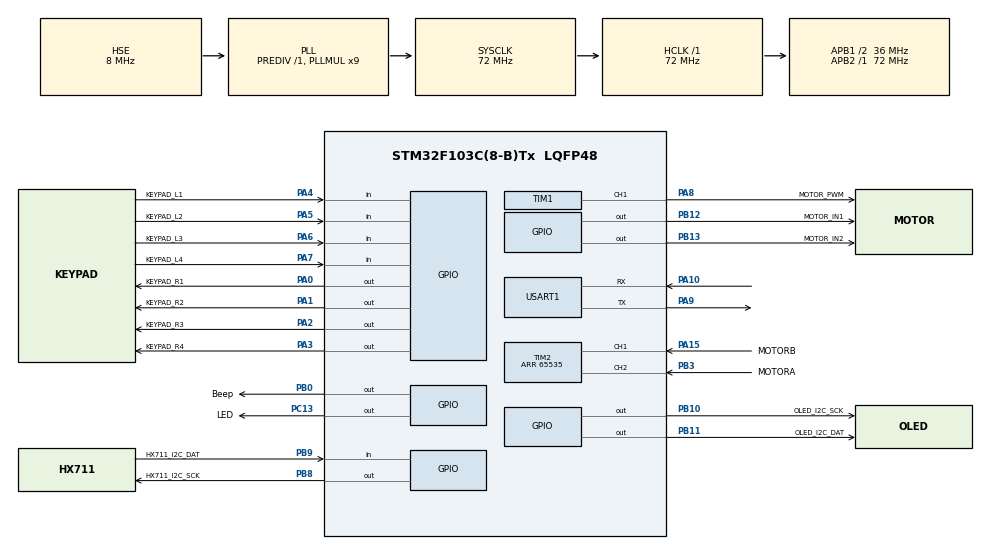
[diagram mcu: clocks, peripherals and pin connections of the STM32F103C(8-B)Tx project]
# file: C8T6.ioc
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Mcu.Family=STM32F1
Mcu.Name=STM32F103C(8-B)Tx
Mcu.Package=LQFP48
NVIC.PriorityGroup=NVIC_PRIORITYGROUP_0
NVIC.TIM3_IRQn=true\:0\:1\:false\:false\:true\:true
PA0-WKUP.GPIO_Label=KEYPAD_R1
PA0-WKUP.GPIO_PuPd=GPIO_PULLDOWN
PA0-WKUP.Signal=GPIO_Output
PA1.GPIO_Label=KEYPAD_R2
PA1.GPIO_PuPd=GPIO_PULLDOWN
PA1.Signal=GPIO_Output
PA10.Mode=Asynchronous
PA10.Signal=USART1_RX
PA13.Mode=Serial_Wire
PA13.Signal=SYS_JTMS-SWDIO
PA14.Mode=Serial_Wire
PA14.Signal=SYS_JTCK-SWCLK
PA15.GPIO_Label=MOTORB
PA15.Signal=S_TIM2_CH1_ETR
PA2.GPIO_Label=KEYPAD_R3
PA2.GPIO_PuPd=GPIO_PULLDOWN
PA2.Signal=GPIO_Output
PA3.GPIO_Label=KEYPAD_R4
PA3.GPIO_PuPd=GPIO_PULLDOWN
PA3.Signal=GPIO_Output
PA4.GPIO_Label=KEYPAD_L1
PA4.GPIO_PuPd=GPIO_PULLDOWN
PA4.Signal=GPIO_Input
PA5.GPIO_Label=KEYPAD_L2
PA5.GPIO_PuPd=GPIO_PULLDOWN
PA5.Signal=GPIO_Input
PA6.GPIO_Label=KEYPAD_L3
PA6.GPIO_PuPd=GPIO_PULLDOWN
PA6.Signal=GPIO_Input
PA7.GPIO_Label=KEYPAD_L4
PA7.GPIO_PuPd=GPIO_PULLDOWN
PA7.Signal=GPIO_Input
PA8.GPIO_Label=MOTOR_PWM
PA8.Signal=S_TIM1_CH1
PA9.Mode=Asynchronous
PA9.Signal=USART1_TX
PB0.GPIO_Label=Beep
PB0.GPIO_PuPd=GPIO_PULLDOWN
PB0.Signal=GPIO_Output
PB10.GPIO_Label=OLED_I2C_SCK
PB10.PinState=GPIO_PIN_SET
PB10.Signal=GPIO_Output
PB11.GPIO_Label=OLED_I2C_DAT
PB11.PinState=GPIO_PIN_SET
PB11.Signal=GPIO_Output
PB12.GPIO_Label=MOTOR_IN1
PB12.GPIO_PuPd=GPIO_PULLUP
PB12.Signal=GPIO_Output
PB13.GPIO_Label=MOTOR_IN2
PB13.GPIO_PuPd=GPIO_PULLUP
PB13.Signal=GPIO_Output
PB3.GPIO_Label=MOTORA
PB3.Signal=S_TIM2_CH2
PB8.GPIO_Label=HX711_I2C_SCK 
PB8.Signal=GPIO_Output
PB9.GPIO_Label=HX711_I2C_DAT 
PB9.Signal=GPIO_Input
PC13-TAMPER-RTC.GPIO_Label=LED
PC13-TAMPER-RTC.GPIO_PuPd=GPIO_NOPULL
PC13-TAMPER-RTC.Signal=GPIO_Output
PD0-OSC_IN.Mode=HSE-External-Oscillator
PD0-OSC_IN.Signal=RCC_OSC_IN
PD1-OSC_OUT.Mode=HSE-External-Oscillator
PD1-OSC_OUT.Signal=RCC_OSC_OUT
ProjectManager.HeapSize=0x200
ProjectManager.StackSize=0x400
ProjectManager.TargetToolchain=MDK-ARM V5
RCC.AHBFreq_Value=72000000
RCC.APB1CLKDivider=RCC_HCLK_DIV2
RCC.APB1Freq_Value=36000000
RCC.APB1TimFreq_Value=72000000
RCC.APB2Freq_Value=72000000
RCC.APB2TimFreq_Value=72000000
RCC.HCLKFreq_Value=72000000
RCC.PLLMUL=RCC_PLL_MUL9
RCC.PLLSourceVirtual=RCC_PLLSOURCE_HSE
RCC.SYSCLKFreq_VALUE=72000000
RCC.SYSCLKSource=RCC_SYSCLKSOURCE_PLLCLK
RCC.USBFreq_Value=72000000
SH.S_TIM1_CH1.0=TIM1_CH1,PWM Generation1 CH1
SH.S_TIM2_CH1_ETR.0=TIM2_CH1,Encoder_Interface
SH.S_TIM2_CH2.0=TIM2_CH2,Encoder_Interface
TIM1.Channel-PWM\ Generation1\ CH1=TIM_CHANNEL_1
TIM1.Period=10000
TIM1.Prescaler=1
TIM2.EncoderMode=TIM_ENCODERMODE_TI12
TIM2.IC1Filter=6
TIM2.IC2Filter=6
TIM2.Period=65535
TIM3.Period=1000
TIM3.Prescaler=71
USART1.VirtualMode=VM_ASYNC
VP_TIM1_VS_ClockSourceINT.Mode=Internal
VP_TIM3_VS_ClockSourceINT.Mode=Internal
board=custom

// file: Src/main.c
/**
  ******************************************************************************
  * @file           : main.c
  * @brief          : Main program body
  ******************************************************************************
  ** This notice applies to any and all portions of this file
  * that are not between comment pairs USER CODE BEGIN and
  * USER CODE END. Other portions of this file, whether
  * inserted by the user or by software development tools
  * are owned by their respective copyright owners.
  *
  * COPYRIGHT(c) 2019 STMicroelectronics
  *
  * Redistribution and use in source and binary forms, with or without modification,
  * are permitted provided that the following conditions are met:
  *   1. Redistributions of source code must retain the above copyright notice,
  *      this list of conditions and the following disclaimer.
  *   2. Redistributions in binary form must reproduce the above copyright notice,
  *      this list of conditions and the following disclaimer in the documentation
  *      and/or other materials provided with the distribution.
  *   3. Neither the name of STMicroelectronics nor the names of its contributors
  *      may be used to endorse or promote products derived from this software
  *      without specific prior written permission.
  *
  * THIS SOFTWARE IS PROVIDED BY THE COPYRIGHT HOLDERS AND CONTRIBUTORS "AS IS"
  * AND ANY EXPRESS OR IMPLIED WARRANTIES, INCLUDING, BUT NOT LIMITED TO, THE
  * IMPLIED WARRANTIES OF MERCHANTABILITY AND FITNESS FOR A PARTICULAR PURPOSE ARE
  * DISCLAIMED. IN NO EVENT SHALL THE COPYRIGHT HOLDER OR CONTRIBUTORS BE LIABLE
  * FOR ANY DIRECT, INDIRECT, INCIDENTAL, SPECIAL, EXEMPLARY, OR CONSEQUENTIAL
  * DAMAGES (INCLUDING, BUT NOT LIMITED TO, PROCUREMENT OF SUBSTITUTE GOODS OR
  * SERVICES; LOSS OF USE, DATA, OR PROFITS; OR BUSINESS INTERRUPTION) HOWEVER
  * CAUSED AND ON ANY THEORY OF LIABILITY, WHETHER IN CONTRACT, STRICT LIABILITY,
  * OR TORT (INCLUDING NEGLIGENCE OR OTHERWISE) ARISING IN ANY WAY OUT OF THE USE
  * OF THIS SOFTWARE, EVEN IF ADVISED OF THE POSSIBILITY OF SUCH DAMAGE.
  *
  ******************************************************************************
  */
#include "main.h"
#include "stm32f1xx_hal.h"
#include "tim.h"
#include "usart.h"
#include "gpio.h"

/* USER CODE BEGIN Includes */

#include "motor.h"
#include "pid.h"
#include "hx711.h"
#include "oled.h"
#include "keypad.h"

#include "stdio.h"
#ifdef __GNUC__
#define PUTCHAR_PROTOTYPE int __io_putchar(int ch)
#else
#define PUTCHAR_PROTOTYPE int fputc(int ch, FILE *f)
#endif /* __GNUC__ */
PUTCHAR_PROTOTYPE
{
	HAL_UART_Transmit(&huart1 , (uint8_t *)&ch, 1, 0xFFFF);
	return ch;
}

/* USER CODE END Includes */

/* USER CODE BEGIN PV */
/* Private variables ---------------------------------------------------------*/

__IO uint16_t time_count=0;        // 时间计数，每1ms增加一(与滴定时器频率有关)
__IO uint16_t time_count2=0;

__IO uint32_t CaptureNumber=0;     // 电机及编码器相关参数
__IO uint8_t  start_encoder_flag=0;
__IO uint8_t  start_flag=0;
__IO int PWM_Duty;
__IO int count;
__IO int error0;
__IO int para1;
__IO int para2;

__IO int time_key_count=0;
__IO int key_open=0;       	//中断使能一次按键
__IO int key_after_jixie=0; //失能机械调零，使能按键输入；
__IO int i=0; 							//用在按键输入的数组位数；
__IO int keyvalue1=0;				//用在开机按键输入
__IO int keyvalue2=0;				//用在待机按键输入
__IO int key_last=0;
__IO int key_in_flag=0;
__IO int key_out_flag=0;
__IO int key_finish=0;			//完成一次输入后
__IO int key_clear_flag=0;
__IO int open_flag=0;
__IO int close_flag=0;
int success_sub=0;
unsigned int success_count=0;
int success=0;
int success_clear=0;
int Weight = 0;        //压力传感相关参数
int Weight_itr = 0;
int key_str[5];

__IO int time_total=0;   //系统总用时

/* USER CODE END PV */

void SystemClock_Config(void);

/* USER CODE BEGIN PFP */
/* Private function prototypes -----------------------------------------------*/

/* USER CODE END PFP */

int main(void)
{

  /* MCU Configuration----------------------------------------------------------*/

  /* Reset of all peripherals, Initializes the Flash interface and the Systick. */
  HAL_Init();

  /* Configure the system clock */
  SystemClock_Config();

  /* Initialize all configured peripherals */
  MX_GPIO_Init();
  MX_TIM1_Init();
  MX_TIM2_Init();
  MX_USART1_UART_Init();
  MX_TIM3_Init();
  /* USER CODE BEGIN 2 */

	HAL_TIM_Base_Start(&htim1);  //初始化定时器
	HAL_TIM_Base_Start(&htim2);
	HAL_TIM_Base_Start_IT(&htim3);

	Motor_Init();   //初始化电机、编码器
	HAL_TIM_Encoder_Start(&htim2,TIM_CHANNEL_ALL);
	PID_Init(&Motor_PowerPID,PID_Motor_KP1,PID_Motor_KI1,PID_Motor_KD1);
	PID_Init(&Motor_SpeedPID,PID_Motor_KP2,PID_Motor_KI2,PID_Motor_KD2);

	OLED_Init();			//初始化OLED
	OLED_Clear();

  /* USER CODE END 2 */

  /* Infinite loop */
  /* USER CODE BEGIN WHILE */

		printf("INIT__PASS……  \r\n");		//硬件初始化成功

	//////////【OLED显示装置】///////////

		OLED_ShowCHinese(6,0,7);//电机恒拉力系统
		OLED_ShowCHinese(24,0,8);
		OLED_ShowCHinese(42,0,9);
		OLED_ShowCHinese(60,0,10);
		OLED_ShowCHinese(78,0,11);
		OLED_ShowCHinese(96,0,12);
		OLED_ShowCHinese(112,0,13);

		OLED_ShowCHinese(6,2,14);//目标拉力值：
		OLED_ShowCHinese(22,2,15);
		OLED_ShowCHinese(38,2,16);
		OLED_ShowCHinese(54,2,17);
		OLED_ShowCHinese(70,2,19);
		OLED_ShowString(120,2,"g",16);

		OLED_ShowCHinese(6,4,20);//当前拉力值：
		OLED_ShowCHinese(22,4,21);
		OLED_ShowCHinese(38,4,22);
		OLED_ShowCHinese(54,4,23);
		OLED_ShowCHinese(70,4,19);
		OLED_ShowString(120,4,"g",16);

		OLED_ShowCHinese(6,6,27);//时间：
		OLED_ShowCHinese(22,6,28);
		OLED_ShowCHinese(38,6,19);
		OLED_ShowString(78,6,".",16);
		OLED_ShowString(100,6,"s",16);

	/////////////////////////////////////

	LED_OFF;
	Get_Maopi();
	//////////【弹力装置初始化程序】///////////////////
	while(1)
	{
		if(key_open==1)
		{
			keyvalue2=KEYPAD_Scan(KEY_PASG_PORT);
			if(open_flag==1)break;

			if(keyvalue2==12&&key_after_jixie==0)//逆时针旋转
				{
					Set_Pwm(9999);
					HAL_GPIO_WritePin(MOTOR_IN1_GPIO_Port,MOTOR_IN1_Pin,GPIO_PIN_RESET);
					HAL_GPIO_WritePin(MOTOR_IN1_GPIO_Port,MOTOR_IN2_Pin,GPIO_PIN_SET);
					key_open=0;         //个别置零标志位，因为需要进入按键逻辑函数；
				}

			if(keyvalue2==13&&key_after_jixie==0)		//顺时针旋转
			{
				Set_Pwm(6000);
				HAL_GPIO_WritePin(MOTOR_IN1_GPIO_Port,MOTOR_IN1_Pin,GPIO_PIN_SET);
				HAL_GPIO_WritePin(MOTOR_IN1_GPIO_Port,MOTOR_IN2_Pin,GPIO_PIN_RESET);
				key_open=0;         //个别置零标志位，因为需要进入按键逻辑函数；
			}

			if(keyvalue2==14&&key_after_jixie==0)		//停止转动
			{
				HAL_GPIO_WritePin(MOTOR_IN1_GPIO_Port,MOTOR_IN1_Pin,GPIO_PIN_RESET);
				HAL_GPIO_WritePin(MOTOR_IN1_GPIO_Port,MOTOR_IN2_Pin,GPIO_PIN_RESET);
				key_open=0;         //个别置零标志位，因为需要进入按键逻辑函数；
			}

			if(keyvalue2==15)
			{
				key_after_jixie=1;
			}

			if(key_after_jixie==1)
			{
				Key_Logic();					//包含按键扫描和按键输入;【优先调节拉力计得机械零位，后输入目标值】
			}
		}
		 Weight = -Get_Weight();
		 OLED_Show();

	}

			//////////【开机运行de程序】////////////
		printf("														开机													\r\n");
		start_flag=1;          					//开启滴答定时器的定时
//		start_encoder_flag=1;    				 //开启PID的调节标志
//		Get_Maopi();
		TIM2 -> CNT=0;
		time_total=0;

  while (1)
  {
			Weight = -Get_Weight();
			Key_Logic();					//包含按键扫描和按键输入;
			OLED_Show();
			printf("\n目标：	%d  压力：%d	  差值%d	para1计算 %d \r\n",Motor_PowerPID.SetPoint,Weight_itr,Motor_PowerPID.SetPoint-Weight_itr,para1);
			printf("\n										目标：%d  计数：%d	差值 ：%d	 pid计算：%d 占空比：%d\n\r\n",para1,(int)count,(int)(para1-count),para2,PWM_Duty);
  /* USER CODE END WHILE */

  }

}

void SystemClock_Config(void)
{

  RCC_OscInitTypeDef RCC_OscInitStruct;
  RCC_ClkInitTypeDef RCC_ClkInitStruct;

    /**Initializes the CPU, AHB and APB busses clocks
    */
  RCC_OscInitStruct.OscillatorType = RCC_OSCILLATORTYPE_HSE;
  RCC_OscInitStruct.HSEState = RCC_HSE_ON;
  RCC_OscInitStruct.HSEPredivValue = RCC_HSE_PREDIV_DIV1;
  RCC_OscInitStruct.HSIState = RCC_HSI_ON;
  RCC_OscInitStruct.PLL.PLLState = RCC_PLL_ON;
  RCC_OscInitStruct.PLL.PLLSource = RCC_PLLSOURCE_HSE;
  RCC_OscInitStruct.PLL.PLLMUL = RCC_PLL_MUL9;
  if (HAL_RCC_OscConfig(&RCC_OscInitStruct) != HAL_OK)
  {
    _Error_Handler(__FILE__, __LINE__);
  }

    /**Initializes the CPU, AHB and APB busses clocks
    */
  RCC_ClkInitStruct.ClockType = RCC_CLOCKTYPE_HCLK|RCC_CLOCKTYPE_SYSCLK
                              |RCC_CLOCKTYPE_PCLK1|RCC_CLOCKTYPE_PCLK2;
  RCC_ClkInitStruct.SYSCLKSource = RCC_SYSCLKSOURCE_PLLCLK;
  RCC_ClkInitStruct.AHBCLKDivider = RCC_SYSCLK_DIV1;
  RCC_ClkInitStruct.APB1CLKDivider = RCC_HCLK_DIV2;
  RCC_ClkInitStruct.APB2CLKDivider = RCC_HCLK_DIV1;

  if (HAL_RCC_ClockConfig(&RCC_ClkInitStruct, FLASH_LATENCY_2) != HAL_OK)
  {
    _Error_Handler(__FILE__, __LINE__);
  }

    /**Configure the Systick interrupt time
    */
  HAL_SYSTICK_Config(HAL_RCC_GetHCLKFreq()/100);

    /**Configure the Systick
    */
  HAL_SYSTICK_CLKSourceConfig(SYSTICK_CLKSOURCE_HCLK);

  /* SysTick_IRQn interrupt configuration */
  HAL_NVIC_SetPriority(SysTick_IRQn, 0, 0);
}

/* USER CODE BEGIN 4 */

/**
  * 函数功能: 系统滴答定时器中断回调函数
  * 输入参数: 无
  * 返 回 值: 无
  * 说    明: 每发生一次滴答定时器中断进入该回调函数一次
  */
void HAL_SYSTICK_Callback(void)
{

		/* 拉力传感部分 */
		Weight_itr=Weight;
//			printf("\n拉力值为:	…………………………		%d\r\n",Weight_itr);

//	if(TIM2->CNT==0)success_count++;
//	if(success_count>=20){time_total=0;success=1;}
//	else time_total++;				//用于OLED的时间显示
//

  if(start_flag) 					// 等待一切初始化完成后才开始计时
  {
		time_count++;

			if(time_count==6)
			{
							if(start_encoder_flag==1)
						{
							/* 【外环】速度部分*/

							error0=Weight_itr-Motor_PowerPID.SetPoint;
							para1=Inc_PID_Calc2(&Motor_PowerPID,Weight_itr);      /* 计数得到位置式PID的增量数值 */
							if(para1<=0)para1=-para1;
							if(para1>375)para1=375;
							PID_SetPoint(&Motor_SpeedPID,para1);

							/*【内环】电流部分 */

							count=(short)TIM2->CNT;   		//获得编码器的值；
							if(count<=0)count=-count;   	 //速度环不需要正负；
							para2=Inc_PID_Calc1(&Motor_SpeedPID,count);                  /* 计数得到增量式PID的增量数值 */
							PWM_Duty +=para2;

							if(PWM_Duty<1000)PWM_Duty=1000;   	//限幅
							if(PWM_Duty>10000)PWM_Duty=10000;

							Motor_Dirc();     					//判别方向
							Set_Pwm(PWM_Duty);

			//				printf("\n目标：	%d  压力：%d	  差值%d	para1计算 %d \r\n",Motor_PowerPID.SetPoint,Weight_itr,Weight_itr-Motor_PowerPID.SetPoint,para1);
			//				printf("\n										目标：%d  计数：%d	差值 ：%d	 pid计算：%d 占空比：%d\n\r\n",para1,(int)count,(int)(para1-count),para2,PWM_Duty);

						TIM2 -> CNT=0;
						}
				time_count=0;
			}

					if(success==0)
					{
						time_total++;
						if((error0<=5)&&(error0>=-5))
						{
							success_count++;
							if(success_count>=50)
							{
								success=1;
								LED_ON;
							}
						}
					}

					if(success==1)
					{
						if((error0>5)||(error0<-5))
						{
							success_count--;

								if(success_count<=0)
							{
								success=0;
								time_total=0;
								LED_OFF;
							}
						}
					}
	}
}

/**
  * 函数功能: 非阻塞模式下定时器的回调函数
  * 输入参数: htim：定时器句柄
  * 返 回 值: 无
  * 说    明: 无
  */
void HAL_TIM_PeriodElapsedCallback(TIM_HandleTypeDef *htim)
{
//	time_total++;						//用于OLED的时间显示
//	OLED_Show();
	 if (htim == (&htim3))
	{
		time_key_count++;
		if(time_key_count==100)
		{

			//////////键盘标志位////////////////
//			printf("READDDDDDDDDDDDDD……  \r\n");
			if(keyvalue2==10)open_flag=1;
			if(keyvalue2==11)close_flag=1;
			if(keyvalue2==12)key_in_flag=1;
			if(keyvalue2==13)key_out_flag=1;
			if(keyvalue2==14)key_clear_flag=1;
			key_open=1;
			time_key_count=0;
		}
	}
}

/* USER CODE END 4 */

void _Error_Handler(char *file, int line)
{
  while(1)
  {
  }
}

/************************ (C) COPYRIGHT STMicroelectronics *****END OF FILE****/
